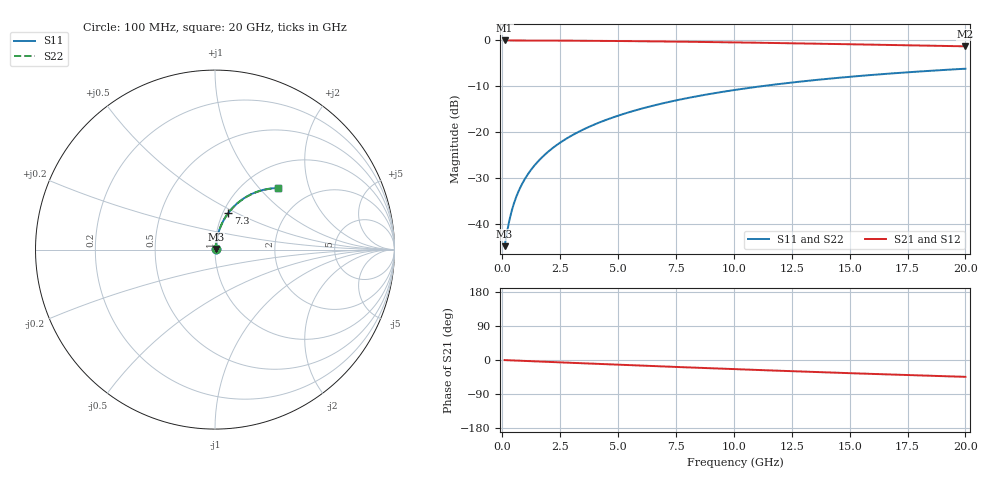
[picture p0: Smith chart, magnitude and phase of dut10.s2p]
! Touchstone file exported from HFSS 2026.1.0
!  File:  C:/ffzhzh/LocalFiles/Ansys_Project_Files/temp_val_BSMRDL_10_1782903206_46784.aedt
!  Generated:  06:54:38 PM Jul  1, 2026
!  Design:  BSMRDL
!  Project:  temp_val_BSMRDL_10_1782903206_46784
! Variables:
!  h_bsmrdl = 2.78um
!  h_ox = 20um
!  h_rdl = 5um
!  h_sub = 80um
!  h_tmrdl = 5um
!  h_tsv = 80um
!  h_via = 3um
!  l_bsmrdl = 578.1um
!  l_sub = 978.1um
!  l_tmrdl = 200um
!  m_sub = 200um
!  pitch = 53.97um
!  r_tsv = 6um
!  s_tmrdl = 10um
!  w_bsmrdl = 15.82um
!  w_sub = 500um
!  w_tmrdl = 12um
!  x_tsv_center1 = 206um
!  x_tsv_center2 = 799.92um
!  x_tsv_center3 = 1011.92um
!  x_tsv_center4 = 1605.84um
!  x_tsv_center5 = 1817.84um
!  x_tsv_center6 = 2411.76um
# GHz S MA R 50.000000
! Terminal data exported
! Port[1] = BSM_RDL1_1_T1
! Port[2] = BSM_RDL1_1_T2
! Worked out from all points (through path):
!   200 points, 100 MHz to 20 GHz, reference 50 ohm
!   highest |S21| = -0.04 dB at 100 MHz (marker M1); lowest = -1.3 dB at 20 GHz (marker M2)
!   group delay of S21, straight-line fit = 6.19 ps
!   lowest |S11| = -44.7 dB at 100 MHz (marker M3), VSWR 1.01, Z = 50.5 + j0.327 ohm
!   |S11| at or under -10 dB: start of sweep to 11.17 GHz
!   |S22| runs from -44.7 to -6.2 dB; largest |S21 - S12| = 3.4e-15
!   S11 on the Smith chart (normalised r, x): 100 MHz: 1.01, +0.01; 7.3 GHz: 1.06, +0.45; 20 GHz: 1.41, +1.27
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0.1  0.005798 34.0  0.9952 -0.3  0.9952 -0.3  0.005798 34.0
! Gamma 0 0 0 0
! Port Impedance 50 0 50 0
0.2  0.008124 52.7  0.9951 -0.5  0.9951 -0.5  0.008124 52.7
0.3  0.01091 62.1  0.995 -0.8  0.995 -0.8  0.01091 62.1
0.4  0.01384 67.4  0.9948 -1.0  0.9948 -1.0  0.01384 67.4
0.5  0.01683 70.7  0.9947 -1.3  0.9947 -1.3  0.01683 70.7
0.6  0.01983 72.9  0.9945 -1.5  0.9945 -1.5  0.01983 72.9
0.8  0.02584 75.7  0.9942 -2.0  0.9942 -2.0  0.02584 75.7
1.1  0.03489 77.9  0.9937 -2.8  0.9937 -2.8  0.03489 77.8
1.5  0.04699 79.1  0.9931 -3.8  0.9931 -3.8  0.04699 79.1
1.8  0.05608 79.4  0.9925 -4.5  0.9925 -4.5  0.05609 79.4
2.1  0.06518 79.4  0.9919 -5.3  0.9919 -5.3  0.06518 79.4
2.7  0.08332 79.0  0.9903 -6.7  0.9903 -6.7  0.08332 79.0
3.5  0.1073 77.9  0.9878 -8.7  0.9878 -8.7  0.1073 77.8
4.2  0.1282 76.6  0.9851 -10.4  0.9851 -10.4  0.1282 76.6
5  0.1516 75.0  0.9815 -12.4  0.9815 -12.4  0.1516 75.0
6.8  0.2029 71.2  0.9714 -16.7  0.9714 -16.7  0.2029 71.1
7.3  0.2167 70.1  0.9683 -17.9  0.9683 -17.9  0.2167 70.0
8.6  0.2516 67.2  0.9593 -20.9  0.9593 -20.9  0.2516 67.1
10.1  0.29 63.9  0.9478 -24.3  0.9478 -24.3  0.2901 63.8
13.4  0.3673 57.0  0.9196 -31.4  0.9196 -31.4  0.3673 56.9
16.7  0.4341 50.4  0.8895 -38.2  0.8895 -38.2  0.4341 50.3
20  0.4909 44.3  0.8594 -44.4  0.8594 -44.4  0.4909 44.1
